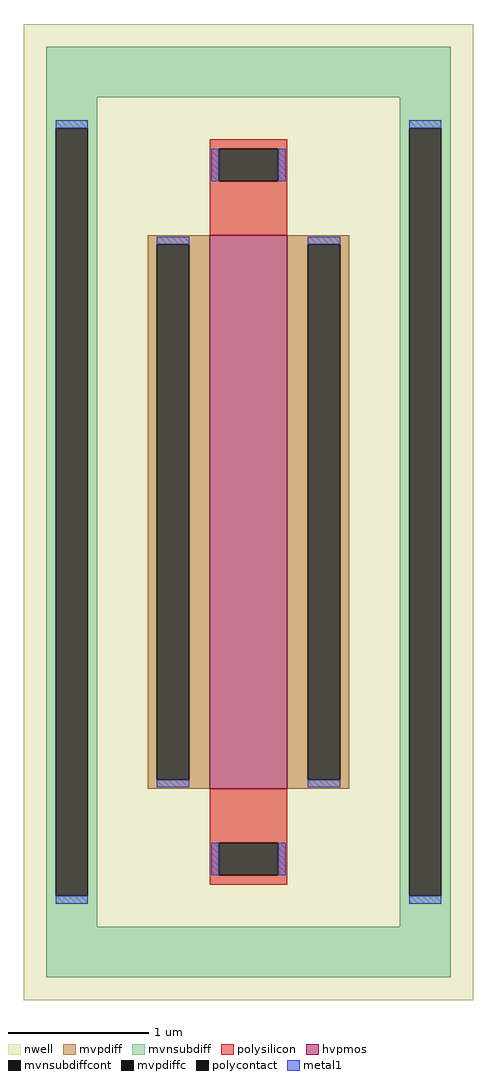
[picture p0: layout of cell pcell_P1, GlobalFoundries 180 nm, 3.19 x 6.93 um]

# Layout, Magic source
magic
tech gf180mcuD
magscale 1 10
<< nwell >>
rect -319 -693 319 693
<< hvpmos >>
rect -55 -393 55 393
<< mvpdiff >>
rect -143 380 -55 393
rect -143 -380 -130 380
rect -84 -380 -55 380
rect -143 -393 -55 -380
rect 55 380 143 393
rect 55 -380 84 380
rect 130 -380 143 380
rect 55 -393 143 -380
<< mvpdiffc >>
rect -130 -380 -84 380
rect 84 -380 130 380
<< mvnsubdiff >>
rect -287 589 287 661
rect -287 545 -215 589
rect -287 -545 -274 545
rect -228 -545 -215 545
rect 215 545 287 589
rect -287 -589 -215 -545
rect 215 -545 228 545
rect 274 -545 287 545
rect 215 -589 287 -545
rect -287 -661 287 -589
<< mvnsubdiffcont >>
rect -274 -545 -228 545
rect 228 -545 274 545
<< polysilicon >>
rect -55 516 55 529
rect -55 470 -42 516
rect 42 470 55 516
rect -55 393 55 470
rect -55 -470 55 -393
rect -55 -516 -42 -470
rect 42 -516 55 -470
rect -55 -529 55 -516
<< polycontact >>
rect -42 470 42 516
rect -42 -516 42 -470
<< metal1 >>
rect -274 545 -228 556
rect 228 545 274 556
rect -53 470 -42 516
rect 42 470 53 516
rect -130 380 -84 391
rect -130 -391 -84 -380
rect 84 380 130 391
rect 84 -391 130 -380
rect -53 -516 -42 -470
rect 42 -516 53 -470
rect -274 -556 -228 -545
rect 228 -556 274 -545
<< properties >>
string FIXED_BBOX -2510 -6250 2510 6250
<< end >>
